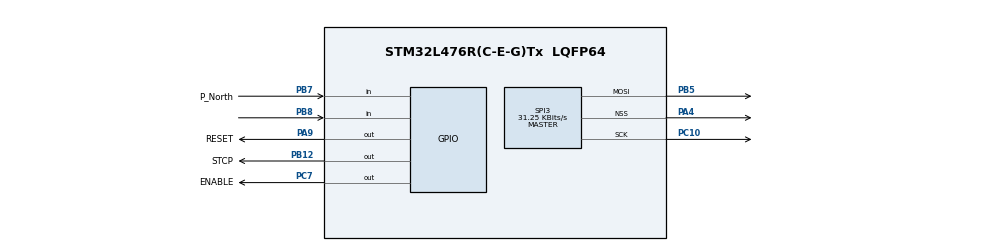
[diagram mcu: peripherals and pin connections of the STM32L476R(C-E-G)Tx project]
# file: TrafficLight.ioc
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Mcu.Family=STM32L4
Mcu.Name=STM32L476R(C-E-G)Tx
Mcu.Package=LQFP64
NVIC.PriorityGroup=NVIC_PRIORITYGROUP_4
PA4.Mode=NSS_Signal_Hard_Output
PA4.Signal=SPI3_NSS
PA9.GPIO_Label=RESET
PA9.PinState=GPIO_PIN_SET
PA9.Signal=GPIO_Output
PB12.GPIO_Label=STCP
PB12.Signal=GPIO_Output
PB5.Mode=TX_Only_Simplex_Unidirect_Master
PB5.Signal=SPI3_MOSI
PB7.GPIO_Label=P_North
PB7.GPIO_PuPd=GPIO_PULLUP
PB7.Signal=GPIO_Input
PB8.Signal=GPIO_Input
PC10.Mode=TX_Only_Simplex_Unidirect_Master
PC10.Signal=SPI3_SCK
PC7.GPIO_Label=ENABLE
PC7.Signal=GPIO_Output
ProjectManager.HeapSize=0x200
ProjectManager.StackSize=0x400
ProjectManager.TargetToolchain=STM32CubeIDE
RCC.HSE_VALUE=8000000
RCC.HSI_VALUE=16000000
RCC.LSE_VALUE=32768
RCC.MSI_VALUE=4000000
RCC.VCOOutputFreq_Value=32000000
SPI3.BaudRatePrescaler=SPI_BAUDRATEPRESCALER_128
SPI3.CalculateBaudRate=31.25 KBits/s
SPI3.DataSize=SPI_DATASIZE_8BIT
SPI3.Direction=SPI_DIRECTION_2LINES
SPI3.FirstBit=SPI_FIRSTBIT_LSB
SPI3.Mode=SPI_MODE_MASTER
SPI3.VirtualNSS=VM_NSSHARD
SPI3.VirtualType=VM_MASTER
board=custom

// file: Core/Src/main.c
/* USER CODE BEGIN Header */
/**
 ******************************************************************************
 * @file           : main.c
 * @brief          : Main program body
 ******************************************************************************
 * @attention
 *
 * Copyright (c) 2024 STMicroelectronics.
 * All rights reserved.
 *
 * This software is licensed under terms that can be found in the LICENSE file
 * in the root directory of this software component.
 * If no LICENSE file comes with this software, it is provided AS-IS.
 *
 ******************************************************************************
 */
/* USER CODE END Header */
#include "main.h"
#include "spi.h"
#include "gpio.h"
#include "Trafficlights_functions.h"

#define toggleFreq 800      // Frequency in milliseconds for the blinking pedestrian light
#define walkingDelay 6000     // Delay in milliseconds for the pedestrian signal to stay green
#define orangeDelay 5000    // Delay in milliseconds for the orange light (yellow)
#define pedestrianDelay 5000  // Delay in milliseconds for red car signals after button press

/* USER CODE BEGIN PV */
lightsstates states;
/* USER CODE END PV */

void SystemClock_Config(void);

int main(void)
{

  /* MCU Configuration--------------------------------------------------------*/

  /* Reset of all peripherals, Initializes the Flash interface and the Systick. */
  HAL_Init();

  /* Configure the system clock */
  SystemClock_Config();

  /* Initialize all configured peripherals */
  MX_GPIO_Init();
  MX_SPI3_Init();
  /* USER CODE BEGIN 2 */
  states.p_north = pred;          // Red for pedestrians
  states.t_NorthAndSouth = green; // Green for cars
  uint8_t lights[3] = {0};

  /* USER CODE END 2 */
  /* Infinite loop */
  /* USER CODE BEGIN WHILE */
  while (1)
  {
    // Normal state: Green for cars, Red for pedestrians
    formatlights(lights, &states);
    lights_display(lights);

    if (HAL_GPIO_ReadPin(P_North_GPIO_Port, P_North_Pin) == GPIO_PIN_RESET)
    {
      // Blink the pedestrian light until car light changes
        states.t_NorthAndSouth = yellow;  // Change car signal to yellow
        formatlights(lights, &states);
        lights_display(lights);

        int count = (orangeDelay/toggleFreq);
        while (count != 0)
      {
        blinkinglights(&states);  // Toggle between blue and off
        formatlights(lights, &states);
        lights_display(lights);
        HAL_Delay(toggleFreq);
        count--;
      }

        formatlights(lights, &states);
        lights_display(lights);

      // After the pedestrian button is pressed, make car lights red for pedestrian crossing
      states.t_NorthAndSouth = red; // Set car signal to red
      formatlights(lights, &states);
      lights_display(lights);

      int count1 = (pedestrianDelay/toggleFreq);
      while (count1 != 0)
      {
        blinkinglights(&states);  // Toggle between blue and off
        formatlights(lights, &states);
        lights_display(lights);
        HAL_Delay(toggleFreq);
        count1--;
      }

      // Turn pedestrian signal green for walking
      states.p_north = pgreen;
      formatlights(lights, &states);
      lights_display(lights);

      HAL_Delay(walkingDelay); // Pedestrian light stays green for walkingDelay

      // Blink pedestrian signal before switching back to red
      for (int i = 0; i < 6; i++) {
        if (states.p_north == pgreen) {
          states.p_north = off; // Turn off pedestrian signal
        } else {
          states.p_north = pgreen; // Toggle pedestrian signal back to green
        }
        formatlights(lights, &states);
        lights_display(lights);
        HAL_Delay(500);
      }

      // After pedestrian crossing, switch pedestrian signal to red
      states.p_north = pred;
      formatlights(lights, &states);
      lights_display(lights);

      // Wait for a safety delay before switching car signal back to green
      HAL_Delay(2000);

      // Transition car signal back to green
      states.t_NorthAndSouth = green;
      formatlights(lights, &states);
      lights_display(lights);
    }
  }
  /* USER CODE END WHILE */
}

void SystemClock_Config(void)
{
  RCC_OscInitTypeDef RCC_OscInitStruct = {0};
  RCC_ClkInitTypeDef RCC_ClkInitStruct = {0};

  /** Configure the main internal regulator output voltage
   */
  if (HAL_PWREx_ControlVoltageScaling(PWR_REGULATOR_VOLTAGE_SCALE1) != HAL_OK)
  {
    Error_Handler();
  }

  /** Initializes the RCC Oscillators according to the specified parameters
   * in the RCC_OscInitTypeDef structure.
   */
  RCC_OscInitStruct.OscillatorType = RCC_OSCILLATORTYPE_MSI;
  RCC_OscInitStruct.MSIState = RCC_MSI_ON;
  RCC_OscInitStruct.MSICalibrationValue = 0;
  RCC_OscInitStruct.MSIClockRange = RCC_MSIRANGE_6;
  RCC_OscInitStruct.PLL.PLLState = RCC_PLL_NONE;
  if (HAL_RCC_OscConfig(&RCC_OscInitStruct) != HAL_OK)
  {
    Error_Handler();
  }

  /** Initializes the CPU, AHB and APB buses clocks
   */
  RCC_ClkInitStruct.ClockType = RCC_CLOCKTYPE_HCLK | RCC_CLOCKTYPE_SYSCLK | RCC_CLOCKTYPE_PCLK1 | RCC_CLOCKTYPE_PCLK2;
  RCC_ClkInitStruct.SYSCLKSource = RCC_SYSCLKSOURCE_MSI;
  RCC_ClkInitStruct.AHBCLKDivider = RCC_SYSCLK_DIV1;
  RCC_ClkInitStruct.APB1CLKDivider = RCC_HCLK_DIV1;
  RCC_ClkInitStruct.APB2CLKDivider = RCC_HCLK_DIV1;

  if (HAL_RCC_ClockConfig(&RCC_ClkInitStruct, FLASH_LATENCY_0) != HAL_OK)
  {
    Error_Handler();
  }
}

void Error_Handler(void)
{
  __disable_irq();
  while (1)
  {
  }
}
